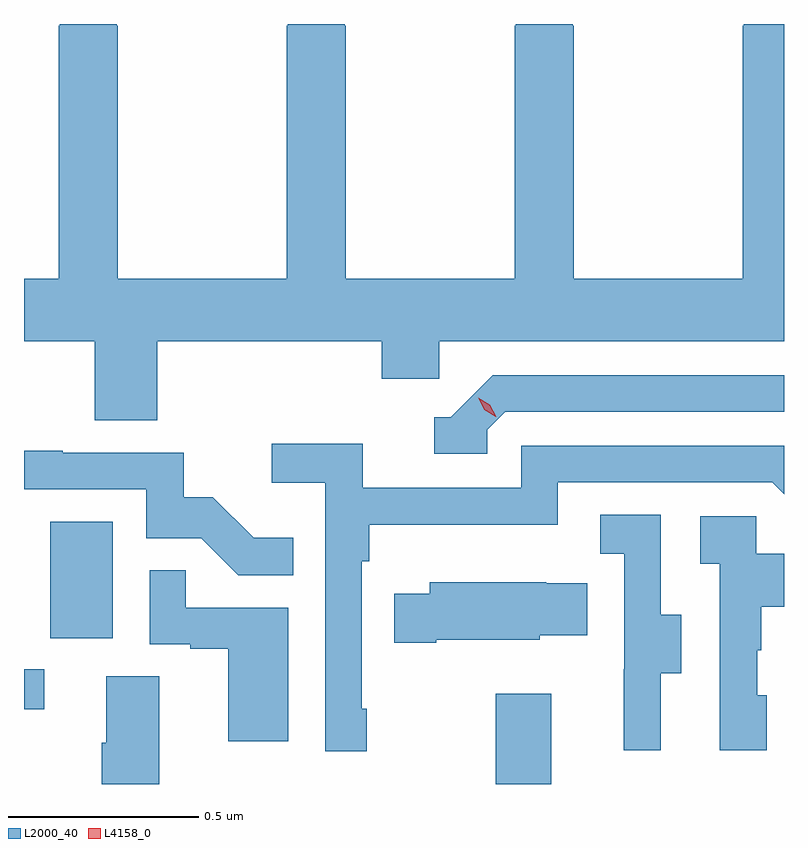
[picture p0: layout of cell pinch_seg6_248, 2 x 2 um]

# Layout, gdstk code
import gdstk
lib = gdstk.Library(unit=1e-6, precision=1e-09)
def R(c, l, rs):  # rectangles x0, y0, x1, y1
    for r in rs: c.add(gdstk.rectangle(r[:2], r[2:], *l))
def P(c, l, *ps):  # polygons
    for p in ps: c.add(gdstk.Polygon(p, *l))
L2000_40 = (2000, 40)
L4158_0 = (4158, 0)

pinch_seg6_248 = lib.new_cell('pinch_seg6_248')
R(pinch_seg6_248, L2000_40, [(1105.552,931.519,1105.699,931.756), (1104.311,931.716,1104.364,931.821), (1104.38,931.902,1104.544,932.209)])
P(pinch_seg6_248, L2000_40, [(1105.605,933.519),(1105.605,933.515),(1105.603,933.515),(1105.603,932.848),(1105.158,932.848),(1105.158,933.515),(1105.155,933.515),(1105.155,933.519),(1105.005,933.519),(1105.005,933.515),(1105.003,933.515),(1105.003,932.848),(1104.558,932.848),(1104.558,933.515),(1104.555,933.515),(1104.555,933.519),(1104.405,933.519),(1104.405,933.515),(1104.403,933.515),(1104.403,932.848),(1104.311,932.848),(1104.311,932.684),(1104.497,932.684),(1104.497,932.476),(1104.662,932.476),(1104.662,932.684),(1105.253,932.684),(1105.253,932.586),(1105.404,932.586),(1105.404,932.684),(1106.311,932.684),(1106.311,933.519),(1106.205,933.519),(1106.205,933.515),(1106.203,933.515),(1106.203,932.848),(1105.758,932.848),(1105.758,933.515),(1105.755,933.515),(1105.755,933.519)],
  [(1105.53,932.451),(1105.578,932.499),(1106.311,932.499),(1106.311,932.595),(1105.545,932.595),(1105.434,932.484),(1105.391,932.484),(1105.391,932.388),(1105.53,932.388)],
  [(1105.213,931.717),(1105.2,931.717),(1105.2,932.105),(1105.22,932.105),(1105.22,932.201),(1105.716,932.201),(1105.716,932.313),(1106.28,932.313),(1106.311,932.282),(1106.311,932.409),(1105.62,932.409),(1105.62,932.298),(1105.202,932.298),(1105.202,932.414),(1104.963,932.414),(1104.963,932.312),(1105.104,932.312),(1105.104,931.605),(1105.213,931.605)],
  [(1105.019,932.167),(1104.915,932.167),(1104.808,932.274),(1104.732,932.274),(1104.732,932.391),(1104.413,932.391),(1104.413,932.396),(1104.311,932.396),(1104.311,932.295),(1104.633,932.295),(1104.633,932.166),(1104.777,932.166),(1104.875,932.068),(1105.019,932.068)],
  [(1105.987,931.81),(1106.041,931.81),(1106.041,931.965),(1105.986,931.965),(1105.986,932.228),(1105.827,932.228),(1105.827,932.125),(1105.89,932.125),(1105.89,931.821),(1105.889,931.821),(1105.889,931.608),(1105.987,931.608)],
  [(1106.266,931.752),(1106.241,931.752),(1106.241,931.871),(1106.251,931.871),(1106.251,931.985),(1106.311,931.985),(1106.311,932.125),(1106.238,932.125),(1106.238,932.223),(1106.091,932.223),(1106.091,932.099),(1106.142,932.099),(1106.142,931.608),(1106.266,931.608)],
  [(1105.006,931.983),(1104.737,931.983),(1104.737,932.081),(1104.642,932.081),(1104.642,931.887),(1104.749,931.887),(1104.749,931.875),(1104.848,931.875),(1104.848,931.632),(1105.006,931.632)],
  [(1105.396,931.898),(1105.668,931.898),(1105.668,931.91),(1105.793,931.91),(1105.793,932.047),(1105.685,932.047),(1105.685,932.05),(1105.379,932.05),(1105.379,932.02),(1105.285,932.02),(1105.285,931.891),(1105.396,931.891)],
  [(1104.667,931.802),(1104.527,931.802),(1104.527,931.628),(1104.515,931.628),(1104.515,931.519),(1104.667,931.519)])
P(pinch_seg6_248, L4158_0, [(1105.553,932.485),(1105.522,932.504),(1105.506,932.536),(1105.506,932.536),(1105.506,932.536),(1105.537,932.517),(1105.554,932.485),(1105.554,932.485)])

lib.write_gds('pinch_seg6_248.gds')
